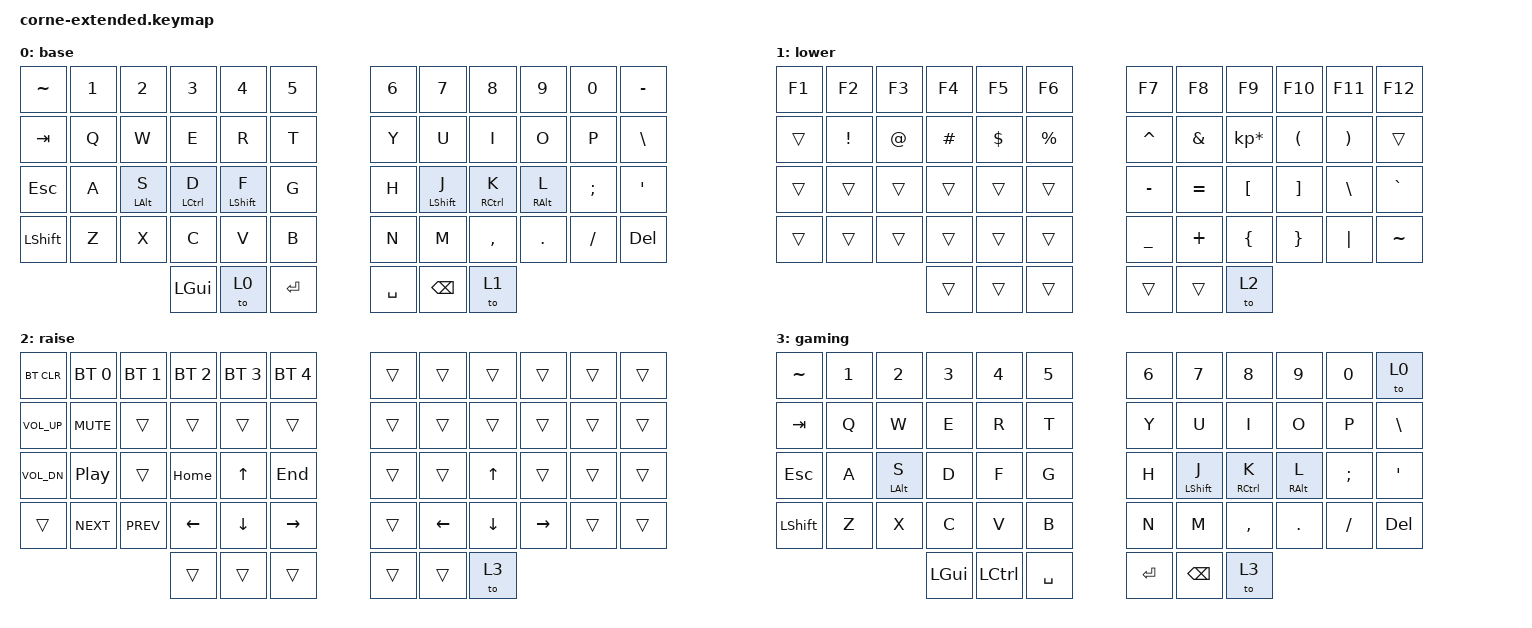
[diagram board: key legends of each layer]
/*
 * Copyright (c) 2020 The ZMK Contributors
 *
 * SPDX-License-Identifier: MIT
 */

#include <behaviors.dtsi>
#include <dt-bindings/zmk/keys.h>
#include <dt-bindings/zmk/bt.h>
#include <dt-bindings/zmk/rgb.h>

/ {
    behaviors {
        hm: homerow_mods {
            compatible = "zmk,behavior-hold-tap";
            label = "HOMEROW_MODS";
            #binding-cells = <2>;
            tapping-term-ms = <200>;
            quick-tap-ms = <0>;
            flavor = "tap-preferred";
            bindings =
                <&kp>,
                <&kp>;
        };
    };


    keymap {
        compatible = "zmk,keymap";

        base {
            bindings = <
 &kp TILDE  &kp NUMBER_1  &kp NUMBER_2  &kp NUMBER_3  &kp NUMBER_4  &kp NUMBER_5          &kp NUMBER_6  &kp NUMBER_7   &kp NUMBER_8  &kp NUMBER_9   &kp NUMBER_0  &kp MINUS
   &kp TAB         &kp Q         &kp W         &kp E         &kp R         &kp T                 &kp Y         &kp U          &kp I         &kp O          &kp P   &kp BSLH
   &kp ESC         &kp A    &hm LALT S   &hm LCTRL D    &hm LSHIFT F        &kp G                 &kp H         &hm LSHIFT J    &hm RCTRL K    &hm RALT L  &kp SEMICOLON   &kp APOS
 &kp LSHFT         &kp Z         &kp X         &kp C         &kp V         &kp B                 &kp N         &kp M      &kp COMMA       &kp DOT       &kp FSLH    &kp DEL
                                            &kp  LGUI        &to 0     &kp RET               &kp SPACE    &kp BACKSPACE     &to 1
            >;
        };
        lower {
            bindings = <
  &kp F1    &kp F2   &kp F3     &kp F4        &kp F5     &kp F6    &kp F7    &kp F8     &kp F9  &kp F10  &kp F11   &kp F12
  &trans    &kp EXCL  &kp AT   &kp HASH   &kp DLLR      &kp PRCNT  &kp CARET   &kp AMPS  &kp KP_MULTIPLY  &kp LPAR  &kp RPAR     &trans
  &trans    &trans    &trans   &trans     &trans   &trans     &kp MINUS   &kp EQUAL &kp LBKT  &kp RBKT  &kp BSLH  &kp GRAVE
  &trans    &trans    &trans   &trans     &trans   &trans     &kp UNDER    &kp PLUS  &kp LBRC  &kp RBRC  &kp PIPE  &kp TILDE
                                           &trans       &trans     &trans      &trans    &trans    &to 2
            >;
        };

        raise {
            bindings = <
 &bt BT_CLR  &bt BT_SEL 0  &bt BT_SEL 1  &bt BT_SEL 2  &bt BT_SEL 3  &bt BT_SEL 4          &trans    &trans    &trans     &trans  &trans  &trans
     &kp C_VOL_UP        &kp C_MUTE        &trans        &trans        &trans        &trans          &trans    &trans    &trans     &trans  &trans  &trans
     &kp C_VOL_DN        &kp C_PP        &trans         &kp HOME        &kp UP        &kp END          &trans    &trans    &kp UP     &trans  &trans  &trans
     &trans        &kp C_NEXT       &kp C_PREV        &kp LEFT      &kp DOWN      &kp RIGHT       &trans    &kp LEFT  &kp DOWN    &kp RIGHT  &trans  &trans
                                               &trans        &trans        &trans          &trans    &trans    &to 3
            >;
        };
        gaming {
            bindings = <
 &kp TILDE  &kp NUMBER_1  &kp NUMBER_2  &kp NUMBER_3  &kp NUMBER_4  &kp NUMBER_5          &kp NUMBER_6  &kp NUMBER_7   &kp NUMBER_8  &kp NUMBER_9   &kp NUMBER_0  &to 0
   &kp TAB         &kp Q         &kp W         &kp E         &kp R         &kp T                 &kp Y         &kp U          &kp I         &kp O          &kp P   &kp BSLH
   &kp ESC         &kp A    &hm LALT S         &kp D         &kp F         &kp G                 &kp H         &hm LSHIFT J    &hm RCTRL K    &hm RALT L  &kp SEMICOLON   &kp APOS
 &kp LSHFT         &kp Z         &kp X         &kp C         &kp V         &kp B                 &kp N         &kp M      &kp COMMA       &kp DOT       &kp FSLH    &kp DEL
                                            &kp  LGUI        &kp LCTRL     &kp SPACE               &kp RET    &kp BACKSPACE     &to 3
            >;
        };

    };
};
